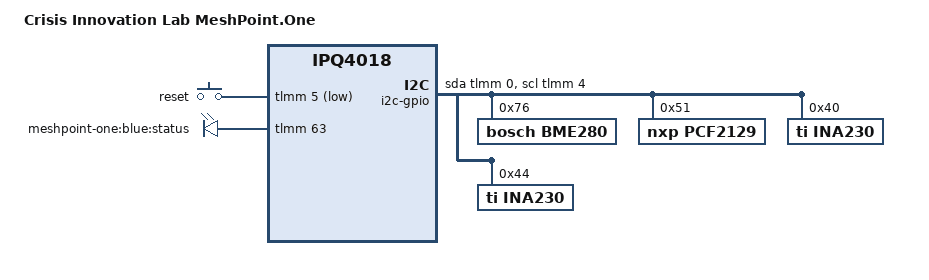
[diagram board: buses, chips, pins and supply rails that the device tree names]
// SPDX-License-Identifier: GPL-2.0-or-later OR MIT
/* Copyright (c) 2019, CRISIS INNOVATION LAB d.o.o.
 * Author: Robert Marko <robert@meshpoint.me>
 */

#include "qcom-ipq4018-jalapeno.dtsi"

/ {
	model = "Crisis Innovation Lab MeshPoint.One";
	compatible = "cilab,meshpoint-one";

	aliases {
		led-boot = &led_status;
		led-failsafe = &led_status;
		led-running = &led_status;
		led-upgrade = &led_status;
	};

	soc {
		i2c-gpio {
			status = "okay";

			#address-cells = <1>;
			#size-cells = <0>;

			compatible = "i2c-gpio";
			gpios = <&tlmm 0 (GPIO_ACTIVE_HIGH|GPIO_OPEN_DRAIN) /* sda */
					 &tlmm 4 (GPIO_ACTIVE_HIGH|GPIO_OPEN_DRAIN) /* scl */
					>;

			bme280@76 {
				status = "okay";

				compatible = "bosch,bme280";
				reg = <0x76>;
			};

			pcf2129@51 {
				status = "okay";

				compatible = "nxp,pcf2129";
				reg = <0x51>;
			};

			ina230@40 {
				status = "okay";

				compatible = "ti,ina230";
				reg = <0x40>;
				shunt-resistor = <2000>;
			};

			ina230@44 {
				status = "okay";

				compatible = "ti,ina230";
				reg = <0x44>;
				shunt-resistor = <2000>;
			};
		};
	};

	keys {
		compatible = "gpio-keys";

		reset {
			label = "reset";
			gpios = <&tlmm 5 GPIO_ACTIVE_LOW>;
			linux,code = <KEY_RESTART >;
		};
	};

	leds {
		compatible = "gpio-leds";

		led_status: status {
			label = "meshpoint-one:blue:status";
			gpios = <&tlmm 63 GPIO_ACTIVE_HIGH>;
		};
	};
};
